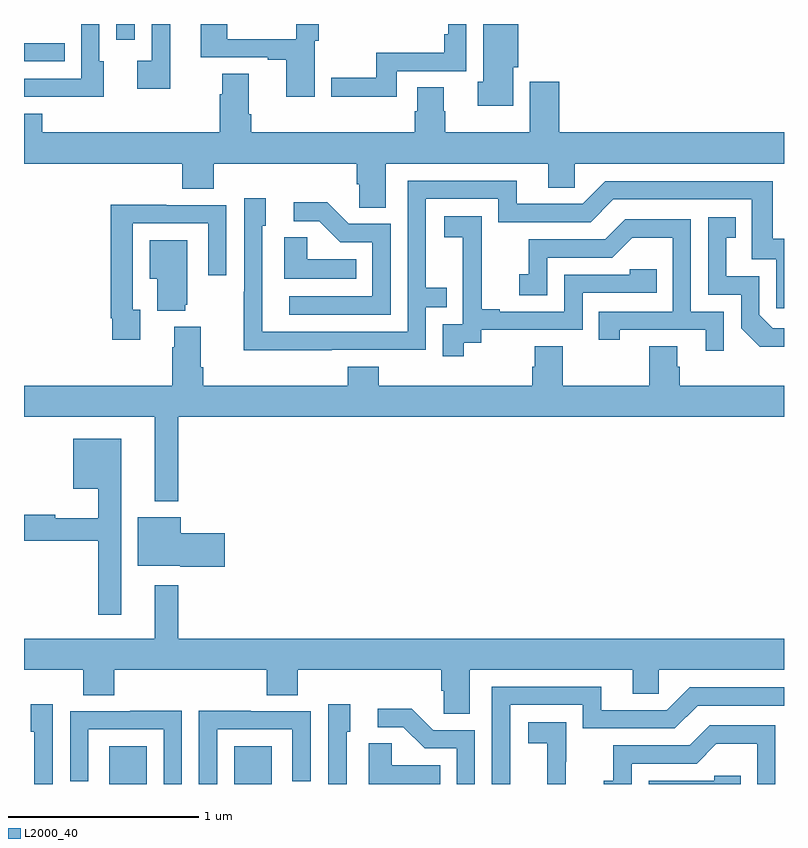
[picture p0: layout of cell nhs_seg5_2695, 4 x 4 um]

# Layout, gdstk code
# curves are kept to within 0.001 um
import gdstk
lib = gdstk.Library(unit=1e-6, precision=1e-09)
def R(c, l, rs):  # rectangles x0, y0, x1, y1
    for r in rs: c.add(gdstk.rectangle(r[:2], r[2:], *l))
def P(c, l, *ps):  # polygons
    for p in ps: c.add(gdstk.Polygon(p, *l))
L2000_40 = (2000, 40)

nhs_seg5_2695 = lib.new_cell('nhs_seg5_2695')
R(nhs_seg5_2695, L2000_40, [(267.449,882.799,267.646,882.997), (268.106,882.799,268.303,882.997), (267,886.602,267.215,886.698), (267.486,886.716,267.582,886.799)])
P(nhs_seg5_2695, L2000_40, [(269.575,886.572),(269.602,886.572),(269.602,886.799),(269.417,886.799),(269.417,886.496),(269.387,886.496),(269.387,886.37),(269.575,886.37)],
  [(268.962,886.551),(269.328,886.551),(269.328,886.799),(269.232,886.799),(269.232,886.744),(269.212,886.744),(269.212,886.648),(268.854,886.648),(268.854,886.517),(268.617,886.517),(268.617,886.415),(268.962,886.415)],
  [(267.421,886.602),(267.396,886.602),(267.396,886.799),(267.3,886.799),(267.3,886.512),(267,886.512),(267,886.416),(267.203,886.416),(267.203,886.415),(267.421,886.415)],
  [(268.53,886.712),(268.55,886.712),(268.55,886.799),(268.434,886.799),(268.434,886.719),(268.069,886.719),(268.069,886.799),(267.929,886.799),(267.929,886.623),(268.283,886.623),(268.283,886.611),(268.379,886.611),(268.379,886.416),(268.53,886.416)],
  [(267.769,886.799),(267.672,886.799),(267.672,886.606),(267.597,886.606),(267.597,886.458),(267.769,886.458)],
  [(268.903,886.064),(269.759,886.064),(269.759,885.937),(269.898,885.937),(269.898,886.064),(271,886.064),(271,886.228),(269.816,886.228),(269.816,886.495),(269.663,886.495),(269.663,886.228),(269.217,886.228),(269.217,886.341),(269.209,886.341),(269.209,886.466),(269.069,886.466),(269.069,886.341),(269.057,886.341),(269.057,886.228),(268.196,886.228),(268.196,886.324),(268.183,886.324),(268.183,886.538),(268.043,886.538),(268.043,886.43),(268.031,886.43),(268.031,886.228),(267.097,886.228),(267.097,886.327),(267,886.327),(267,886.064),(267.833,886.064),(267.833,885.931),(267.998,885.931),(267.998,886.064),(268.751,886.064),(268.751,885.955),(268.764,885.955),(268.764,885.832),(268.903,885.832)],
  [(268.619,885.084),(269.115,885.084),(269.115,885.309),(269.225,885.309),(269.225,885.41),(269.115,885.41),(269.115,885.879),(269.496,885.879),(269.496,885.756),(269.982,885.756),(270.102,885.876),(270.831,885.876),(270.831,885.561),(270.96,885.561),(270.96,885.303),(271,885.303),(271,885.67),(270.94,885.67),(270.94,885.972),(270.06,885.972),(269.94,885.852),(269.593,885.852),(269.593,885.975),(269.019,885.975),(269.019,885.18),(268.254,885.18),(268.254,885.738),(268.273,885.738),(268.273,885.883),(268.158,885.883),(268.158,885.389),(268.156,885.389),(268.156,885.083)],
  [(268.929,885.747),(268.71,885.747),(268.597,885.86),(268.419,885.86),(268.419,885.762),(268.553,885.762),(268.664,885.651),(268.833,885.651),(268.833,885.366),(268.395,885.366),(268.395,885.27),(268.929,885.27)],
  [(267.613,885.294),(267.573,885.294),(267.573,885.75),(267.969,885.75),(267.969,885.477),(268.065,885.477),(268.065,885.846),(267.749,885.846),(267.749,885.848),(267.457,885.848),(267.457,885.25),(267.465,885.25),(267.465,885.138),(267.613,885.138)],
  [(269.314,885.121),(269.406,885.121),(269.406,885.189),(269.94,885.189),(269.94,885.384),(270.329,885.384),(270.329,885.507),(270.189,885.507),(270.189,885.48),(269.844,885.48),(269.844,885.285),(269.503,885.285),(269.503,885.298),(269.408,885.298),(269.408,885.581),(269.409,885.581),(269.409,885.787),(269.211,885.787),(269.211,885.677),(269.309,885.677),(269.309,885.449),(269.31,885.449),(269.31,885.219),(269.205,885.219),(269.205,885.051),(269.314,885.051)],
  [(271,885.198),(270.942,885.198),(270.87,885.27),(270.87,885.471),(270.697,885.471),(270.697,885.675),(270.746,885.675),(270.746,885.781),(270.6,885.781),(270.6,885.375),(270.774,885.375),(270.774,885.198),(270.872,885.101),(271,885.101)],
  [(270.684,885.285),(270.51,885.285),(270.51,885.771),(270.164,885.771),(270.059,885.666),(269.656,885.666),(269.656,885.481),(269.607,885.481),(269.607,885.372),(269.754,885.372),(269.754,885.57),(270.096,885.57),(270.2,885.674),(270.414,885.674),(270.414,885.285),(270.025,885.285),(270.025,885.138),(270.136,885.138),(270.136,885.189),(270.587,885.189),(270.587,885.078),(270.684,885.078)],
  [(268.748,885.562),(268.491,885.562),(268.491,885.677),(268.37,885.677),(268.37,885.458),(268.748,885.458)],
  [(267.848,885.321),(267.859,885.321),(267.859,885.661),(267.662,885.661),(267.662,885.458),(267.701,885.458),(267.701,885.29),(267.848,885.29)],
  [(267.811,884.732),(271,884.732),(271,884.896),(270.452,884.896),(270.452,884.994),(270.439,884.994),(270.439,885.104),(270.292,885.104),(270.292,884.896),(269.835,884.896),(269.835,885.104),(269.687,885.104),(269.687,884.994),(269.675,884.994),(269.675,884.896),(268.868,884.896),(268.868,884.995),(268.703,884.995),(268.703,884.896),(267.944,884.896),(267.944,884.992),(267.931,884.992),(267.931,885.205),(267.791,885.205),(267.791,885.098),(267.779,885.098),(267.779,884.896),(267,884.896),(267,884.732),(267.689,884.732),(267.689,884.288),(267.811,884.288)],
  [(267.511,884.617),(267.26,884.617),(267.26,884.354),(267.39,884.354),(267.39,884.197),(267.164,884.197),(267.164,884.216),(267,884.216),(267,884.08),(267.39,884.08),(267.39,883.689),(267.511,883.689)],
  [(268.057,884.12),(267.826,884.12),(267.826,884.203),(267.599,884.203),(267.599,883.949),(267.822,883.949),(267.822,883.942),(268.057,883.942)],
  [(269.347,883.4),(270.203,883.4),(270.203,883.273),(270.342,883.273),(270.342,883.4),(271,883.4),(271,883.564),(267.811,883.564),(267.811,883.846),(267.689,883.846),(267.689,883.564),(267,883.564),(267,883.4),(267.311,883.4),(267.311,883.267),(267.476,883.267),(267.476,883.4),(268.277,883.4),(268.277,883.267),(268.442,883.267),(268.442,883.4),(269.195,883.4),(269.195,883.291),(269.208,883.291),(269.208,883.168),(269.347,883.168)],
  [(269.559,883.215),(269.94,883.215),(269.94,883.092),(270.426,883.092),(270.546,883.212),(271,883.212),(271,883.308),(270.504,883.308),(270.384,883.188),(270.037,883.188),(270.037,883.311),(269.463,883.311),(269.463,882.799),(269.559,882.799)],
  [(267.15,883.219),(267.035,883.219),(267.035,883.074),(267.054,883.074),(267.054,882.799),(267.15,882.799)],
  [(268.698,883.074),(268.717,883.074),(268.717,883.219),(268.602,883.219),(268.602,882.799),(268.698,882.799)],
  [(269.373,883.083),(269.154,883.083),(269.041,883.196),(268.863,883.196),(268.863,883.098),(268.997,883.098),(269.108,882.987),(269.277,882.987),(269.277,882.799),(269.373,882.799)],
  [(267.831,883.184),(267.559,883.184),(267.559,883.182),(267.243,883.182),(267.243,882.813),(267.339,882.813),(267.339,883.086),(267.735,883.086),(267.735,882.799),(267.831,882.799)],
  [(268.017,883.086),(268.413,883.086),(268.413,882.813),(268.509,882.813),(268.509,883.182),(268.193,883.182),(268.193,883.184),(267.921,883.184),(267.921,882.799),(268.017,882.799)],
  [(269.852,882.917),(269.853,882.917),(269.853,883.123),(269.655,883.123),(269.655,883.013),(269.753,883.013),(269.753,882.799),(269.852,882.799)],
  [(270.198,882.906),(270.54,882.906),(270.644,883.01),(270.858,883.01),(270.858,882.799),(270.954,882.799),(270.954,883.107),(270.608,883.107),(270.503,883.002),(270.1,883.002),(270.1,882.817),(270.051,882.817),(270.051,882.799),(270.198,882.799)],
  [(269.192,882.898),(268.935,882.898),(268.935,883.013),(268.814,883.013),(268.814,882.799),(269.192,882.799)],
  [(270.773,882.843),(270.633,882.843),(270.633,882.816),(270.288,882.816),(270.288,882.799),(270.773,882.799)])

lib.write_gds('nhs_seg5_2695.gds')
